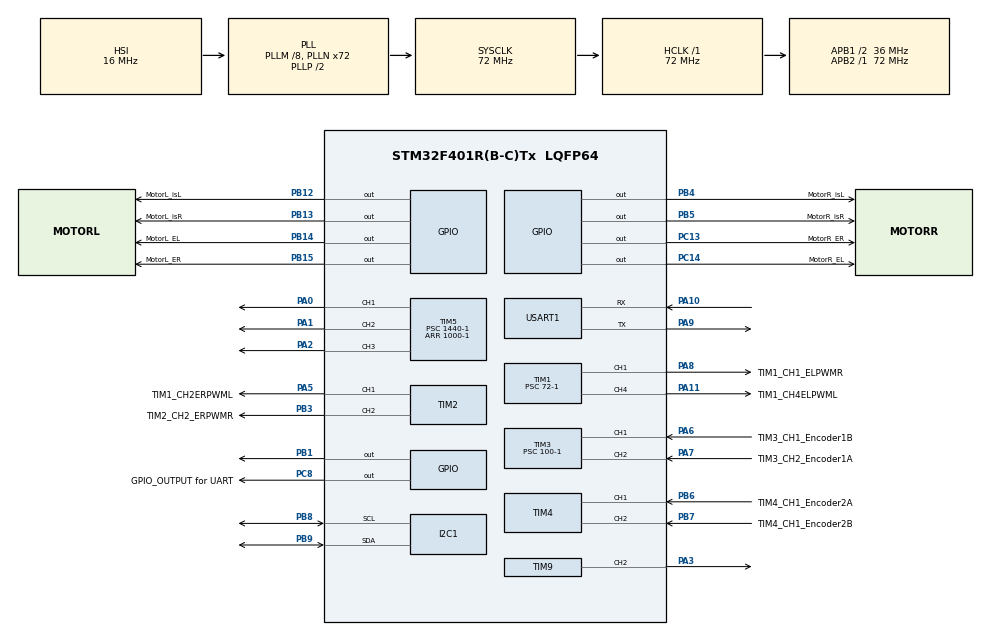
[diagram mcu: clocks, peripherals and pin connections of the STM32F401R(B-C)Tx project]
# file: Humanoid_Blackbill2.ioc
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Mcu.Family=STM32F4
Mcu.Name=STM32F401R(B-C)Tx
Mcu.Package=LQFP64
NVIC.PriorityGroup=NVIC_PRIORITYGROUP_4
NVIC.USART1_IRQn=true\:0\:0\:false\:false\:true\:true\:true\:true
PA0-WKUP.Signal=S_TIM5_CH1
PA1.Signal=S_TIM5_CH2
PA10.Mode=Asynchronous
PA10.Signal=USART1_RX
PA11.GPIO_Label=TIM1_CH4ELPWML
PA11.Signal=S_TIM1_CH4
PA13.Mode=Serial_Wire
PA13.Signal=SYS_JTMS-SWDIO
PA14.Mode=Serial_Wire
PA14.Signal=SYS_JTCK-SWCLK
PA2.Signal=S_TIM5_CH3
PA3.Signal=S_TIM9_CH2
PA5.GPIO_Label=TIM1_CH2ERPWML
PA5.Signal=S_TIM2_CH1_ETR
PA6.GPIO_Label=TIM3_CH1_Encoder1B
PA6.Signal=S_TIM3_CH1
PA7.GPIO_Label=TIM3_CH2_Encoder1A
PA7.Signal=S_TIM3_CH2
PA8.GPIO_Label=TIM1_CH1_ELPWMR
PA8.Signal=S_TIM1_CH1
PA9.Mode=Asynchronous
PA9.Signal=USART1_TX
PB1.Signal=GPIO_Output
PB12.GPIO_Label=MotorL_isL
PB12.Signal=GPIO_Output
PB13.GPIO_Label=MotorL_isR
PB13.Signal=GPIO_Output
PB14.GPIO_Label=MotorL_EL
PB14.Signal=GPIO_Output
PB15.GPIO_Label=MotorL_ER
PB15.Signal=GPIO_Output
PB3.GPIO_Label=TIM2_CH2_ERPWMR
PB3.Signal=S_TIM2_CH2
PB4.GPIO_Label=MotorR_isL
PB4.Signal=GPIO_Output
PB5.GPIO_Label=MotorR_isR
PB5.Signal=GPIO_Output
PB6.GPIO_Label=TIM4_CH1_Encoder2A
PB6.Signal=S_TIM4_CH1
PB7.GPIO_Label=TIM4_CH1_Encoder2B
PB7.Signal=S_TIM4_CH2
PB8.Mode=I2C
PB8.Signal=I2C1_SCL
PB9.Mode=I2C
PB9.Signal=I2C1_SDA
PC13-ANTI_TAMP.GPIO_Label=MotorR_ER
PC13-ANTI_TAMP.Signal=GPIO_Output
PC14-OSC32_IN.GPIO_Label=MotorR_EL
PC14-OSC32_IN.Signal=GPIO_Output
PC8.GPIO_Label=GPIO_OUTPUT for UART
PC8.Signal=GPIO_Output
PH0\ -\ OSC_IN.Mode=HSE-External-Oscillator
PH0\ -\ OSC_IN.Signal=RCC_OSC_IN
PH1\ -\ OSC_OUT.Mode=HSE-External-Oscillator
PH1\ -\ OSC_OUT.Signal=RCC_OSC_OUT
ProjectManager.HeapSize=0x200
ProjectManager.StackSize=0x400
ProjectManager.TargetToolchain=STM32CubeIDE
RCC.48MHZClocksFreq_Value=36000000
RCC.AHBFreq_Value=72000000
RCC.APB1CLKDivider=RCC_HCLK_DIV2
RCC.APB1Freq_Value=36000000
RCC.APB1TimFreq_Value=72000000
RCC.APB2Freq_Value=72000000
RCC.APB2TimFreq_Value=72000000
RCC.CortexFreq_Value=72000000
RCC.HCLKFreq_Value=72000000
RCC.HSE_VALUE=25000000
RCC.HSI_VALUE=16000000
RCC.LSE_VALUE=32768
RCC.PLLM=8
RCC.PLLN=72
RCC.SYSCLKFreq_VALUE=72000000
RCC.SYSCLKSource=RCC_SYSCLKSOURCE_PLLCLK
RCC.VCOOutputFreq_Value=144000000
SH.S_TIM1_CH1.0=TIM1_CH1,PWM Generation1 CH1
SH.S_TIM1_CH4.0=TIM1_CH4,PWM Generation4 CH4
SH.S_TIM2_CH1_ETR.0=TIM2_CH1,PWM Generation1 CH1
SH.S_TIM2_CH2.0=TIM2_CH2,PWM Generation2 CH2
SH.S_TIM3_CH1.0=TIM3_CH1,Encoder_Interface
SH.S_TIM3_CH2.0=TIM3_CH2,Encoder_Interface
SH.S_TIM4_CH1.0=TIM4_CH1,Encoder_Interface
SH.S_TIM4_CH2.0=TIM4_CH2,Encoder_Interface
SH.S_TIM5_CH1.0=TIM5_CH1,PWM Generation1 CH1
SH.S_TIM5_CH2.0=TIM5_CH2,PWM Generation2 CH2
SH.S_TIM5_CH3.0=TIM5_CH3,PWM Generation3 CH3
SH.S_TIM9_CH2.0=TIM9_CH2,PWM Generation2 CH2
TIM1.Channel-PWM\ Generation1\ CH1=TIM_CHANNEL_1
TIM1.Channel-PWM\ Generation4\ CH4=TIM_CHANNEL_4
TIM1.Period=100-1
TIM1.Prescaler=72-1
TIM2.Channel-PWM\ Generation1\ CH1=TIM_CHANNEL_1
TIM2.Channel-PWM\ Generation2\ CH2=TIM_CHANNEL_2
TIM3.AutoReloadPreload=TIM_AUTORELOAD_PRELOAD_DISABLE
TIM3.CounterMode=TIM_COUNTERMODE_DOWN
TIM3.EncoderMode=TIM_ENCODERMODE_TI12
TIM3.IC1Filter=10
TIM3.IC1Polarity=TIM_ICPOLARITY_FALLING
TIM3.IC2Filter=10
TIM3.IC2Polarity=TIM_ICPOLARITY_FALLING
TIM3.Prescaler=100-1
TIM4.EncoderMode=TIM_ENCODERMODE_TI12
TIM4.IC1Filter=10
TIM4.IC1Polarity=TIM_ICPOLARITY_FALLING
TIM4.IC2Filter=10
TIM4.IC2Polarity=TIM_ICPOLARITY_FALLING
TIM5.Channel-PWM\ Generation1\ CH1=TIM_CHANNEL_1
TIM5.Channel-PWM\ Generation2\ CH2=TIM_CHANNEL_2
TIM5.Channel-PWM\ Generation3\ CH3=TIM_CHANNEL_3
TIM5.Period=1000-1
TIM5.Prescaler=1440-1
TIM9.Channel-PWM\ Generation2\ CH2=TIM_CHANNEL_2
TIM9.Period=1000-1
TIM9.Prescaler=1440-1
USART1.VirtualMode=VM_ASYNC
VP_TIM10_VS_ClockSourceINT.Mode=Enable_Timer
VP_TIM11_VS_ClockSourceINT.Mode=Enable_Timer
VP_TIM5_VS_ClockSourceINT.Mode=Internal
board=custom

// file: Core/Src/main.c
/* USER CODE BEGIN Header */
/**
  ******************************************************************************
  * @file           : main.c
  * @brief          : Main program body
  ******************************************************************************
  * @attention
  *
  * Copyright (c) 2024 STMicroelectronics.
  * All rights reserved.
  *
  * This software is licensed under terms that can be found in the LICENSE file
  * in the root directory of this software component.
  * If no LICENSE file comes with this software, it is provided AS-IS.
  *
  ******************************************************************************
  */
/* USER CODE END Header */
#include "main.h"

/* USER CODE BEGIN Includes */

#include "pca9685.h"
#include"MotorDriver.h"
/* USER CODE END Includes */

I2C_HandleTypeDef hi2c1;

TIM_HandleTypeDef htim1;
TIM_HandleTypeDef htim2;
TIM_HandleTypeDef htim3;
TIM_HandleTypeDef htim4;
TIM_HandleTypeDef htim5;
TIM_HandleTypeDef htim9;
TIM_HandleTypeDef htim10;
TIM_HandleTypeDef htim11;

UART_HandleTypeDef huart1;

/* USER CODE BEGIN PV */
uint8_t txBufferGArrU8[27]="Welcome to our robot!\n\r"; // Buffer for UART transmission
uint8_t rxDataGArrU8[1];  // 1-byte buffer for receiving UART data

volatile uint32_t  motorRightCounterGDU32=0; // Counter value for Right motor encoder
volatile uint32_t  motorLeftCounterGDU32=0;  // Counter value for left motor encoder

volatile uint8_t UART1_flag_gb=0; // Flag indicating the status of UART communication

MotorConfig motorShoulderInRightStructG = {&htim5, TIM_CHANNEL_1}; // Configuration for shoulder motor right Label A
MotorConfig motorShoulderInLeftStructG = {&htim5, TIM_CHANNEL_2}; // Configuration for shoulder motor left Label A'
MotorConfig headRotationStructG = {&htim5, TIM_CHANNEL_3}; // Configuration for head rotation
MotorConfig headUpDownStructG = {&htim9,TIM_CHANNEL_2}; // Configuration for head up-down

Dc_Motor motorDCRightStructG = {

    .enablePort        = GPIOC,
    .EnableRight       = GPIO_PIN_13,
    .EnableLeft        = GPIO_PIN_14,
    .ISPort            = GPIOB,
    .IS_Right          = GPIO_PIN_5,
	.IS_Left           = GPIO_PIN_4,
    .timer             = &htim2,
	.PWM_Left_Channel  = TIM_CHANNEL_1,
	.PWM_Right_Channel = TIM_CHANNEL_2

};

Dc_Motor motorDCLeftStructG = {
    .enablePort        = GPIOB,
    .EnableRight       = GPIO_PIN_15,
    .EnableLeft        = GPIO_PIN_14,
    .ISPort            = GPIOB,
    .IS_Right          = GPIO_PIN_13,
	.IS_Left           = GPIO_PIN_12,
    .timer             = &htim1,
	.PWM_Left_Channel  = TIM_CHANNEL_4,
	.PWM_Right_Channel = TIM_CHANNEL_1
};

/* USER CODE END PV */

void SystemClock_Config(void);
static void MX_GPIO_Init(void);
static void MX_I2C1_Init(void);
static void MX_TIM1_Init(void);
static void MX_TIM3_Init(void);
static void MX_TIM5_Init(void);
static void MX_TIM9_Init(void);
static void MX_TIM10_Init(void);
static void MX_TIM11_Init(void);
static void MX_TIM4_Init(void);
static void MX_TIM2_Init(void);
static void MX_USART1_UART_Init(void);

/* USER CODE BEGIN 0 */

//
//void HAL_TIM_IC_CaptureCallback(TIM_HandleTypeDef *htim){
//	if(htim->Instance == TIM3 ){
//		Counter1 = __HAL_TIM_GET_COUNTER(htim3);
//	}
//	else if(htim->Instance == TIM4){
//		Counter2 = __HAL_TIM_GET_COUNTER(htim4);
//	}
//	else
//	{
//
//	}
//}

/* USER CODE END 0 */

int main(void)
{

  /* MCU Configuration--------------------------------------------------------*/

  /* Reset of all peripherals, Initializes the Flash interface and the Systick. */
  HAL_Init();

  /* Configure the system clock */
  SystemClock_Config();

  /* Initialize all configured peripherals */
  MX_GPIO_Init();
  MX_I2C1_Init();
  MX_TIM1_Init();
  MX_TIM3_Init();
  MX_TIM5_Init();
  MX_TIM9_Init();
  MX_TIM10_Init();
  MX_TIM11_Init();
  MX_TIM4_Init();
  MX_TIM2_Init();
  MX_USART1_UART_Init();
  /* USER CODE BEGIN 2 */
  PCA9685_Init(&hi2c1);
  /* USER CODE END 2 */

  /* Infinite loop */
  while (1)
  {

    /* USER CODE BEGIN 3 */
//	 HAL_UART_Transmit(&huart1, txBufferGArrU8, 27, 10);
//	 HAL_Delay(1000);
  HAL_UART_Receive_IT(&huart1, rxDataGArrU8, 1);
	 if(UART1_flag_gb == 1){
		 UART1_flag_gb = 0;
		if(rxDataGArrU8[0] == 1){
			OpenHand();
		}
		else if(rxDataGArrU8[0] == 2){
			CloseHand();
		}
		else {}
		   }

	 }
  /* USER CODE END 3 */
}

void SystemClock_Config(void)
{
  RCC_OscInitTypeDef RCC_OscInitStruct = {0};
  RCC_ClkInitTypeDef RCC_ClkInitStruct = {0};

  /** Configure the main internal regulator output voltage
  */
  __HAL_RCC_PWR_CLK_ENABLE();
  __HAL_PWR_VOLTAGESCALING_CONFIG(PWR_REGULATOR_VOLTAGE_SCALE2);

  /** Initializes the RCC Oscillators according to the specified parameters
  * in the RCC_OscInitTypeDef structure.
  */
  RCC_OscInitStruct.OscillatorType = RCC_OSCILLATORTYPE_HSI;
  RCC_OscInitStruct.HSIState = RCC_HSI_ON;
  RCC_OscInitStruct.HSICalibrationValue = RCC_HSICALIBRATION_DEFAULT;
  RCC_OscInitStruct.PLL.PLLState = RCC_PLL_ON;
  RCC_OscInitStruct.PLL.PLLSource = RCC_PLLSOURCE_HSI;
  RCC_OscInitStruct.PLL.PLLM = 8;
  RCC_OscInitStruct.PLL.PLLN = 72;
  RCC_OscInitStruct.PLL.PLLP = RCC_PLLP_DIV2;
  RCC_OscInitStruct.PLL.PLLQ = 4;
  if (HAL_RCC_OscConfig(&RCC_OscInitStruct) != HAL_OK)
  {
    Error_Handler();
  }

  /** Initializes the CPU, AHB and APB buses clocks
  */
  RCC_ClkInitStruct.ClockType = RCC_CLOCKTYPE_HCLK|RCC_CLOCKTYPE_SYSCLK
                              |RCC_CLOCKTYPE_PCLK1|RCC_CLOCKTYPE_PCLK2;
  RCC_ClkInitStruct.SYSCLKSource = RCC_SYSCLKSOURCE_PLLCLK;
  RCC_ClkInitStruct.AHBCLKDivider = RCC_SYSCLK_DIV1;
  RCC_ClkInitStruct.APB1CLKDivider = RCC_HCLK_DIV2;
  RCC_ClkInitStruct.APB2CLKDivider = RCC_HCLK_DIV1;

  if (HAL_RCC_ClockConfig(&RCC_ClkInitStruct, FLASH_LATENCY_2) != HAL_OK)
  {
    Error_Handler();
  }
}

static void MX_I2C1_Init(void)
{

  hi2c1.Instance = I2C1;
  hi2c1.Init.ClockSpeed = 100000;
  hi2c1.Init.DutyCycle = I2C_DUTYCYCLE_2;
  hi2c1.Init.OwnAddress1 = 0;
  hi2c1.Init.AddressingMode = I2C_ADDRESSINGMODE_7BIT;
  hi2c1.Init.DualAddressMode = I2C_DUALADDRESS_DISABLE;
  hi2c1.Init.OwnAddress2 = 0;
  hi2c1.Init.GeneralCallMode = I2C_GENERALCALL_DISABLE;
  hi2c1.Init.NoStretchMode = I2C_NOSTRETCH_DISABLE;
  if (HAL_I2C_Init(&hi2c1) != HAL_OK)
  {
    Error_Handler();
  }

}

static void MX_TIM1_Init(void)
{

  TIM_MasterConfigTypeDef sMasterConfig = {0};
  TIM_OC_InitTypeDef sConfigOC = {0};
  TIM_BreakDeadTimeConfigTypeDef sBreakDeadTimeConfig = {0};

  htim1.Instance = TIM1;
  htim1.Init.Prescaler = 72-1;
  htim1.Init.CounterMode = TIM_COUNTERMODE_UP;
  htim1.Init.Period = 100-1;
  htim1.Init.ClockDivision = TIM_CLOCKDIVISION_DIV1;
  htim1.Init.RepetitionCounter = 0;
  htim1.Init.AutoReloadPreload = TIM_AUTORELOAD_PRELOAD_DISABLE;
  if (HAL_TIM_PWM_Init(&htim1) != HAL_OK)
  {
    Error_Handler();
  }
  sMasterConfig.MasterOutputTrigger = TIM_TRGO_RESET;
  sMasterConfig.MasterSlaveMode = TIM_MASTERSLAVEMODE_DISABLE;
  if (HAL_TIMEx_MasterConfigSynchronization(&htim1, &sMasterConfig) != HAL_OK)
  {
    Error_Handler();
  }
  sConfigOC.OCMode = TIM_OCMODE_PWM1;
  sConfigOC.Pulse = 0;
  sConfigOC.OCPolarity = TIM_OCPOLARITY_HIGH;
  sConfigOC.OCNPolarity = TIM_OCNPOLARITY_HIGH;
  sConfigOC.OCFastMode = TIM_OCFAST_DISABLE;
  sConfigOC.OCIdleState = TIM_OCIDLESTATE_RESET;
  sConfigOC.OCNIdleState = TIM_OCNIDLESTATE_RESET;
  if (HAL_TIM_PWM_ConfigChannel(&htim1, &sConfigOC, TIM_CHANNEL_1) != HAL_OK)
  {
    Error_Handler();
  }
  if (HAL_TIM_PWM_ConfigChannel(&htim1, &sConfigOC, TIM_CHANNEL_4) != HAL_OK)
  {
    Error_Handler();
  }
  sBreakDeadTimeConfig.OffStateRunMode = TIM_OSSR_DISABLE;
  sBreakDeadTimeConfig.OffStateIDLEMode = TIM_OSSI_DISABLE;
  sBreakDeadTimeConfig.LockLevel = TIM_LOCKLEVEL_OFF;
  sBreakDeadTimeConfig.DeadTime = 0;
  sBreakDeadTimeConfig.BreakState = TIM_BREAK_DISABLE;
  sBreakDeadTimeConfig.BreakPolarity = TIM_BREAKPOLARITY_HIGH;
  sBreakDeadTimeConfig.AutomaticOutput = TIM_AUTOMATICOUTPUT_DISABLE;
  if (HAL_TIMEx_ConfigBreakDeadTime(&htim1, &sBreakDeadTimeConfig) != HAL_OK)
  {
    Error_Handler();
  }
  HAL_TIM_MspPostInit(&htim1);

}

static void MX_TIM2_Init(void)
{

  TIM_MasterConfigTypeDef sMasterConfig = {0};
  TIM_OC_InitTypeDef sConfigOC = {0};

  htim2.Instance = TIM2;
  htim2.Init.Prescaler = 0;
  htim2.Init.CounterMode = TIM_COUNTERMODE_UP;
  htim2.Init.Period = 4294967295;
  htim2.Init.ClockDivision = TIM_CLOCKDIVISION_DIV1;
  htim2.Init.AutoReloadPreload = TIM_AUTORELOAD_PRELOAD_DISABLE;
  if (HAL_TIM_PWM_Init(&htim2) != HAL_OK)
  {
    Error_Handler();
  }
  sMasterConfig.MasterOutputTrigger = TIM_TRGO_RESET;
  sMasterConfig.MasterSlaveMode = TIM_MASTERSLAVEMODE_DISABLE;
  if (HAL_TIMEx_MasterConfigSynchronization(&htim2, &sMasterConfig) != HAL_OK)
  {
    Error_Handler();
  }
  sConfigOC.OCMode = TIM_OCMODE_PWM1;
  sConfigOC.Pulse = 0;
  sConfigOC.OCPolarity = TIM_OCPOLARITY_HIGH;
  sConfigOC.OCFastMode = TIM_OCFAST_DISABLE;
  if (HAL_TIM_PWM_ConfigChannel(&htim2, &sConfigOC, TIM_CHANNEL_1) != HAL_OK)
  {
    Error_Handler();
  }
  if (HAL_TIM_PWM_ConfigChannel(&htim2, &sConfigOC, TIM_CHANNEL_2) != HAL_OK)
  {
    Error_Handler();
  }
  HAL_TIM_MspPostInit(&htim2);

}

static void MX_TIM3_Init(void)
{

  TIM_Encoder_InitTypeDef sConfig = {0};
  TIM_MasterConfigTypeDef sMasterConfig = {0};

  htim3.Instance = TIM3;
  htim3.Init.Prescaler = 100-1;
  htim3.Init.CounterMode = TIM_COUNTERMODE_DOWN;
  htim3.Init.Period = 65535;
  htim3.Init.ClockDivision = TIM_CLOCKDIVISION_DIV1;
  htim3.Init.AutoReloadPreload = TIM_AUTORELOAD_PRELOAD_DISABLE;
  sConfig.EncoderMode = TIM_ENCODERMODE_TI12;
  sConfig.IC1Polarity = TIM_ICPOLARITY_FALLING;
  sConfig.IC1Selection = TIM_ICSELECTION_DIRECTTI;
  sConfig.IC1Prescaler = TIM_ICPSC_DIV1;
  sConfig.IC1Filter = 10;
  sConfig.IC2Polarity = TIM_ICPOLARITY_FALLING;
  sConfig.IC2Selection = TIM_ICSELECTION_DIRECTTI;
  sConfig.IC2Prescaler = TIM_ICPSC_DIV1;
  sConfig.IC2Filter = 10;
  if (HAL_TIM_Encoder_Init(&htim3, &sConfig) != HAL_OK)
  {
    Error_Handler();
  }
  sMasterConfig.MasterOutputTrigger = TIM_TRGO_RESET;
  sMasterConfig.MasterSlaveMode = TIM_MASTERSLAVEMODE_DISABLE;
  if (HAL_TIMEx_MasterConfigSynchronization(&htim3, &sMasterConfig) != HAL_OK)
  {
    Error_Handler();
  }
  /* USER CODE BEGIN TIM3_Init 2 */
  HAL_TIM_Encoder_Start(&htim3,TIM_CHANNEL_ALL);
  /* USER CODE END TIM3_Init 2 */

}

static void MX_TIM4_Init(void)
{

  TIM_Encoder_InitTypeDef sConfig = {0};
  TIM_MasterConfigTypeDef sMasterConfig = {0};

  htim4.Instance = TIM4;
  htim4.Init.Prescaler = 0;
  htim4.Init.CounterMode = TIM_COUNTERMODE_UP;
  htim4.Init.Period = 65535;
  htim4.Init.ClockDivision = TIM_CLOCKDIVISION_DIV1;
  htim4.Init.AutoReloadPreload = TIM_AUTORELOAD_PRELOAD_DISABLE;
  sConfig.EncoderMode = TIM_ENCODERMODE_TI12;
  sConfig.IC1Polarity = TIM_ICPOLARITY_FALLING;
  sConfig.IC1Selection = TIM_ICSELECTION_DIRECTTI;
  sConfig.IC1Prescaler = TIM_ICPSC_DIV1;
  sConfig.IC1Filter = 10;
  sConfig.IC2Polarity = TIM_ICPOLARITY_FALLING;
  sConfig.IC2Selection = TIM_ICSELECTION_DIRECTTI;
  sConfig.IC2Prescaler = TIM_ICPSC_DIV1;
  sConfig.IC2Filter = 10;
  if (HAL_TIM_Encoder_Init(&htim4, &sConfig) != HAL_OK)
  {
    Error_Handler();
  }
  sMasterConfig.MasterOutputTrigger = TIM_TRGO_RESET;
  sMasterConfig.MasterSlaveMode = TIM_MASTERSLAVEMODE_DISABLE;
  if (HAL_TIMEx_MasterConfigSynchronization(&htim4, &sMasterConfig) != HAL_OK)
  {
    Error_Handler();
  }
  /* USER CODE BEGIN TIM4_Init 2 */
//  HAL_TIM_Encoder_Start(&htim4,TIM_CHANNEL_ALL);
  /* USER CODE END TIM4_Init 2 */

}

static void MX_TIM5_Init(void)
{

  TIM_ClockConfigTypeDef sClockSourceConfig = {0};
  TIM_MasterConfigTypeDef sMasterConfig = {0};
  TIM_OC_InitTypeDef sConfigOC = {0};

  htim5.Instance = TIM5;
  htim5.Init.Prescaler = 1440-1;
  htim5.Init.CounterMode = TIM_COUNTERMODE_UP;
  htim5.Init.Period = 1000-1;
  htim5.Init.ClockDivision = TIM_CLOCKDIVISION_DIV1;
  htim5.Init.AutoReloadPreload = TIM_AUTORELOAD_PRELOAD_DISABLE;
  if (HAL_TIM_Base_Init(&htim5) != HAL_OK)
  {
    Error_Handler();
  }
  sClockSourceConfig.ClockSource = TIM_CLOCKSOURCE_INTERNAL;
  if (HAL_TIM_ConfigClockSource(&htim5, &sClockSourceConfig) != HAL_OK)
  {
    Error_Handler();
  }
  if (HAL_TIM_PWM_Init(&htim5) != HAL_OK)
  {
    Error_Handler();
  }
  sMasterConfig.MasterOutputTrigger = TIM_TRGO_RESET;
  sMasterConfig.MasterSlaveMode = TIM_MASTERSLAVEMODE_DISABLE;
  if (HAL_TIMEx_MasterConfigSynchronization(&htim5, &sMasterConfig) != HAL_OK)
  {
    Error_Handler();
  }
  sConfigOC.OCMode = TIM_OCMODE_PWM1;
  sConfigOC.Pulse = 0;
  sConfigOC.OCPolarity = TIM_OCPOLARITY_HIGH;
  sConfigOC.OCFastMode = TIM_OCFAST_DISABLE;
  if (HAL_TIM_PWM_ConfigChannel(&htim5, &sConfigOC, TIM_CHANNEL_1) != HAL_OK)
  {
    Error_Handler();
  }
  if (HAL_TIM_PWM_ConfigChannel(&htim5, &sConfigOC, TIM_CHANNEL_2) != HAL_OK)
  {
    Error_Handler();
  }
  if (HAL_TIM_PWM_ConfigChannel(&htim5, &sConfigOC, TIM_CHANNEL_3) != HAL_OK)
  {
    Error_Handler();
  }
  HAL_TIM_MspPostInit(&htim5);

}

static void MX_TIM9_Init(void)
{

  TIM_OC_InitTypeDef sConfigOC = {0};

  htim9.Instance = TIM9;
  htim9.Init.Prescaler = 1440-1;
  htim9.Init.CounterMode = TIM_COUNTERMODE_UP;
  htim9.Init.Period = 1000-1;
  htim9.Init.ClockDivision = TIM_CLOCKDIVISION_DIV1;
  htim9.Init.AutoReloadPreload = TIM_AUTORELOAD_PRELOAD_DISABLE;
  if (HAL_TIM_PWM_Init(&htim9) != HAL_OK)
  {
    Error_Handler();
  }
  sConfigOC.OCMode = TIM_OCMODE_PWM1;
  sConfigOC.Pulse = 0;
  sConfigOC.OCPolarity = TIM_OCPOLARITY_HIGH;
  sConfigOC.OCFastMode = TIM_OCFAST_DISABLE;
  if (HAL_TIM_PWM_ConfigChannel(&htim9, &sConfigOC, TIM_CHANNEL_2) != HAL_OK)
  {
    Error_Handler();
  }
  HAL_TIM_MspPostInit(&htim9);

}

static void MX_TIM10_Init(void)
{

  htim10.Instance = TIM10;
  htim10.Init.Prescaler = 0;
  htim10.Init.CounterMode = TIM_COUNTERMODE_UP;
  htim10.Init.Period = 65535;
  htim10.Init.ClockDivision = TIM_CLOCKDIVISION_DIV1;
  htim10.Init.AutoReloadPreload = TIM_AUTORELOAD_PRELOAD_DISABLE;
  if (HAL_TIM_Base_Init(&htim10) != HAL_OK)
  {
    Error_Handler();
  }

}

static void MX_TIM11_Init(void)
{

  htim11.Instance = TIM11;
  htim11.Init.Prescaler = 0;
  htim11.Init.CounterMode = TIM_COUNTERMODE_UP;
  htim11.Init.Period = 65535;
  htim11.Init.ClockDivision = TIM_CLOCKDIVISION_DIV1;
  htim11.Init.AutoReloadPreload = TIM_AUTORELOAD_PRELOAD_DISABLE;
  if (HAL_TIM_Base_Init(&htim11) != HAL_OK)
  {
    Error_Handler();
  }

}

static void MX_USART1_UART_Init(void)
{

  huart1.Instance = USART1;
  huart1.Init.BaudRate = 115200;
  huart1.Init.WordLength = UART_WORDLENGTH_8B;
  huart1.Init.StopBits = UART_STOPBITS_1;
  huart1.Init.Parity = UART_PARITY_NONE;
  huart1.Init.Mode = UART_MODE_TX_RX;
  huart1.Init.HwFlowCtl = UART_HWCONTROL_NONE;
  huart1.Init.OverSampling = UART_OVERSAMPLING_16;
  if (HAL_UART_Init(&huart1) != HAL_OK)
  {
    Error_Handler();
  }

}

static void MX_GPIO_Init(void)
{
  GPIO_InitTypeDef GPIO_InitStruct = {0};

  /* GPIO Ports Clock Enable */
  __HAL_RCC_GPIOC_CLK_ENABLE();
  __HAL_RCC_GPIOH_CLK_ENABLE();
  __HAL_RCC_GPIOA_CLK_ENABLE();
  __HAL_RCC_GPIOB_CLK_ENABLE();

  /*Configure GPIO pin Output Level */
  HAL_GPIO_WritePin(GPIOC, MotorR_ER_Pin|MotorR_EL_Pin|GPIO_OUTPUT_for_UART_Pin, GPIO_PIN_RESET);

  /*Configure GPIO pin Output Level */
  HAL_GPIO_WritePin(GPIOB, GPIO_PIN_1|MotorL_isL_Pin|MotorL_isR_Pin|MotorL_EL_Pin
                          |MotorL_ER_Pin|MotorR_isL_Pin|MotorR_isR_Pin, GPIO_PIN_RESET);

  /*Configure GPIO pins : MotorR_ER_Pin MotorR_EL_Pin GPIO_OUTPUT_for_UART_Pin */
  GPIO_InitStruct.Pin = MotorR_ER_Pin|MotorR_EL_Pin|GPIO_OUTPUT_for_UART_Pin;
  GPIO_InitStruct.Mode = GPIO_MODE_OUTPUT_PP;
  GPIO_InitStruct.Pull = GPIO_NOPULL;
  GPIO_InitStruct.Speed = GPIO_SPEED_FREQ_LOW;
  HAL_GPIO_Init(GPIOC, &GPIO_InitStruct);

  /*Configure GPIO pins : PB1 MotorL_isL_Pin MotorL_isR_Pin MotorL_EL_Pin
                           MotorL_ER_Pin MotorR_isL_Pin MotorR_isR_Pin */
  GPIO_InitStruct.Pin = GPIO_PIN_1|MotorL_isL_Pin|MotorL_isR_Pin|MotorL_EL_Pin
                          |MotorL_ER_Pin|MotorR_isL_Pin|MotorR_isR_Pin;
  GPIO_InitStruct.Mode = GPIO_MODE_OUTPUT_PP;
  GPIO_InitStruct.Pull = GPIO_NOPULL;
  GPIO_InitStruct.Speed = GPIO_SPEED_FREQ_LOW;
  HAL_GPIO_Init(GPIOB, &GPIO_InitStruct);

}

/* USER CODE BEGIN 4 */
void HAL_UART_RxCpltCallback(UART_HandleTypeDef *huart)
{
  /* Prevent unused argument(s) compilation warning */
  UNUSED(huart);
  /* NOTE: This function should not be modified, when the callback is needed,
           the HAL_UART_RxCpltCallback could be implemented in the user file
   */
	if(huart->Instance = USART1){
		UART1_flag_gb = 1;
	}
}

/* USER CODE END 4 */

void Error_Handler(void)
{
  __disable_irq();
  while (1)
  {
  }
}
